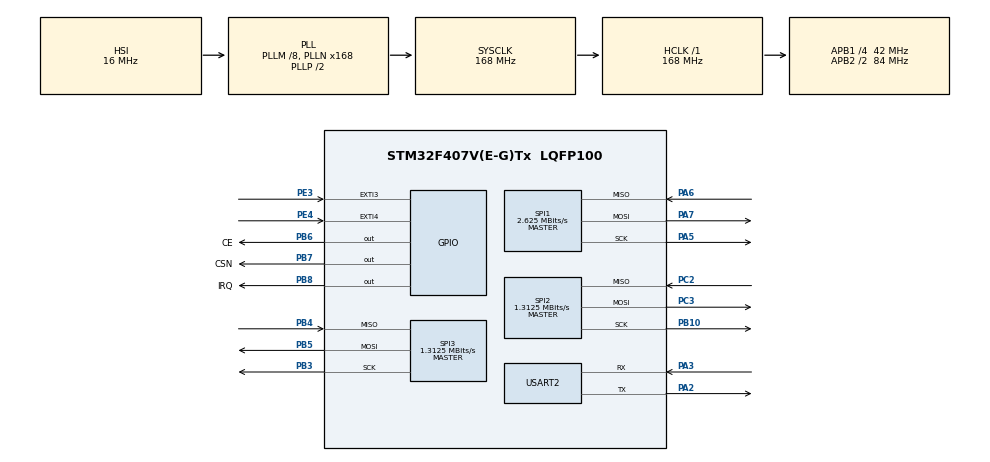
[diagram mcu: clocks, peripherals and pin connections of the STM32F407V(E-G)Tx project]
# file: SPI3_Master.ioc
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Mcu.Family=STM32F4
Mcu.Name=STM32F407V(E-G)Tx
Mcu.Package=LQFP100
NVIC.EXTI3_IRQn=true\:1\:0\:true\:false\:true\:true\:true
NVIC.EXTI4_IRQn=true\:2\:0\:true\:false\:true\:true\:true
NVIC.PriorityGroup=NVIC_PRIORITYGROUP_4
NVIC.USART2_IRQn=true\:0\:0\:false\:false\:true\:true\:true
PA13.Mode=Serial_Wire
PA13.Signal=SYS_JTMS-SWDIO
PA14.Mode=Serial_Wire
PA14.Signal=SYS_JTCK-SWCLK
PA2.GPIO_Speed=GPIO_SPEED_FREQ_VERY_HIGH
PA2.Mode=Asynchronous
PA2.Signal=USART2_TX
PA3.GPIO_Speed=GPIO_SPEED_FREQ_VERY_HIGH
PA3.Mode=Asynchronous
PA3.Signal=USART2_RX
PA5.Mode=Full_Duplex_Master
PA5.Signal=SPI1_SCK
PA6.Mode=Full_Duplex_Master
PA6.Signal=SPI1_MISO
PA7.Mode=Full_Duplex_Master
PA7.Signal=SPI1_MOSI
PB10.Mode=Full_Duplex_Master
PB10.Signal=SPI2_SCK
PB3.GPIO_Speed=GPIO_SPEED_FREQ_VERY_HIGH
PB3.Mode=Full_Duplex_Master
PB3.Signal=SPI3_SCK
PB4.GPIO_Speed=GPIO_SPEED_FREQ_VERY_HIGH
PB4.Mode=Full_Duplex_Master
PB4.Signal=SPI3_MISO
PB5.GPIO_Speed=GPIO_SPEED_FREQ_VERY_HIGH
PB5.Mode=Full_Duplex_Master
PB5.Signal=SPI3_MOSI
PB6.GPIO_Label=CE
PB6.GPIO_PuPd=GPIO_NOPULL
PB6.GPIO_Speed=GPIO_SPEED_FREQ_VERY_HIGH
PB6.PinState=GPIO_PIN_SET
PB6.Signal=GPIO_Output
PB7.GPIO_Label=CSN
PB7.GPIO_Speed=GPIO_SPEED_FREQ_VERY_HIGH
PB7.PinState=GPIO_PIN_SET
PB7.Signal=GPIO_Output
PB8.GPIO_Label=IRQ
PB8.GPIO_Speed=GPIO_SPEED_FREQ_VERY_HIGH
PB8.PinState=GPIO_PIN_RESET
PB8.Signal=GPIO_Output
PC2.Mode=Full_Duplex_Master
PC2.Signal=SPI2_MISO
PC3.Mode=Full_Duplex_Master
PC3.Signal=SPI2_MOSI
PE3.GPIO_ModeDefaultEXTI=GPIO_MODE_IT_FALLING
PE3.GPIO_PuPd=GPIO_PULLUP
PE3.Signal=GPXTI3
PE4.GPIO_ModeDefaultEXTI=GPIO_MODE_IT_FALLING
PE4.GPIO_PuPd=GPIO_PULLUP
PE4.Signal=GPXTI4
PH0-OSC_IN.Mode=HSE-External-Oscillator
PH0-OSC_IN.Signal=RCC_OSC_IN
PH1-OSC_OUT.Mode=HSE-External-Oscillator
PH1-OSC_OUT.Signal=RCC_OSC_OUT
ProjectManager.HeapSize=0x200
ProjectManager.StackSize=0x400
ProjectManager.TargetToolchain=MDK-ARM V5.27
RCC.48MHZClocksFreq_Value=84000000
RCC.AHBFreq_Value=168000000
RCC.APB1CLKDivider=RCC_HCLK_DIV4
RCC.APB1Freq_Value=42000000
RCC.APB1TimFreq_Value=84000000
RCC.APB2CLKDivider=RCC_HCLK_DIV2
RCC.APB2Freq_Value=84000000
RCC.APB2TimFreq_Value=168000000
RCC.CortexFreq_Value=168000000
RCC.HCLKFreq_Value=168000000
RCC.HSE_VALUE=8000000
RCC.HSI_VALUE=16000000
RCC.LSE_VALUE=32768
RCC.PLLM=8
RCC.PLLN=168
RCC.SYSCLKFreq_VALUE=168000000
RCC.SYSCLKSource=RCC_SYSCLKSOURCE_PLLCLK
RCC.VCOOutputFreq_Value=336000000
SPI1.BaudRatePrescaler=SPI_BAUDRATEPRESCALER_32
SPI1.CalculateBaudRate=2.625 MBits/s
SPI1.Direction=SPI_DIRECTION_2LINES
SPI1.Mode=SPI_MODE_MASTER
SPI1.VirtualType=VM_MASTER
SPI2.BaudRatePrescaler=SPI_BAUDRATEPRESCALER_32
SPI2.CalculateBaudRate=1.3125 MBits/s
SPI2.Direction=SPI_DIRECTION_2LINES
SPI2.Mode=SPI_MODE_MASTER
SPI2.VirtualType=VM_MASTER
SPI3.BaudRatePrescaler=SPI_BAUDRATEPRESCALER_32
SPI3.CRCCalculation=SPI_CRCCALCULATION_DISABLE
SPI3.CalculateBaudRate=1.3125 MBits/s
SPI3.Direction=SPI_DIRECTION_2LINES
SPI3.Mode=SPI_MODE_MASTER
SPI3.VirtualType=VM_MASTER
USART2.VirtualMode=VM_ASYNC
board=custom

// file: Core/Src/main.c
/* USER CODE BEGIN Header */
/**
  ******************************************************************************
  * @file           : main.c
  * @brief          : Main program body
  ******************************************************************************
  * @attention
  *
  * <h2><center>&copy; Copyright (c) 2021 STMicroelectronics.
  * All rights reserved.</center></h2>
  *
  * This software component is licensed by ST under BSD 3-Clause license,
  * the "License"; You may not use this file except in compliance with the
  * License. You may obtain a copy of the License at:
  *                        opensource.org/licenses/BSD-3-Clause
  *
  ******************************************************************************
  */
/* USER CODE END Header */
#include "main.h"

/* USER CODE BEGIN Includes */
#include "MY_NRF24.h"
/* USER CODE END Includes */

SPI_HandleTypeDef hspi1;
SPI_HandleTypeDef hspi2;
SPI_HandleTypeDef hspi3;

UART_HandleTypeDef huart2;

void SystemClock_Config(void);
static void MX_GPIO_Init(void);
static void MX_SPI3_Init(void);
static void MX_USART2_UART_Init(void);
static void MX_SPI1_Init(void);
static void MX_SPI2_Init(void);

/* USER CODE BEGIN 0 */
uint8_t ch;
volatile uint8_t status = 0;
uint64_t TxpipeAddres = 0x11223344AA;
char DataSent[32] = "Hello nFR";
char MyAckPayload[32];
/* USER CODE END 0 */

int main(void)
{

  /* MCU Configuration--------------------------------------------------------*/

  /* Reset of all peripherals, Initializes the Flash interface and the Systick. */
  HAL_Init();

  /* Configure the system clock */
  SystemClock_Config();

  /* Initialize all configured peripherals */
  MX_GPIO_Init();
  MX_SPI3_Init();
  MX_USART2_UART_Init();
  MX_SPI1_Init();
  MX_SPI2_Init();
  /* USER CODE BEGIN 2 */
	HAL_SPI_Init(&hspi3);
//HAL_UART_Transmit(&huart2,(uint8_t *)"SPI3 \r\n",13,1000);

NRF24_begin(GPIOB, CSN_Pin, CE_Pin, hspi3);
nrf24_DebugUART_Init(huart2);

printRadioSettings();

/* Transmit - No ACK */
NRF24_stopListening();
NRF24_setDataRate(RF24_2MBPS);
NRF24_setAutoAck(true);
NRF24_setChannel(52);
NRF24_openWritingPipe(TxpipeAddres);
NRF24_setPayloadSize(32);

//NRF24_enableDynamicPayloads();
//NRF24_enableAckPayload();
  /* USER CODE END 2 */

  /* Infinite loop */
  /* USER CODE BEGIN WHILE */
  while (1)
  {
//		//NRF24_write(DataSent, 32);
//		if(NRF24_write(DataSent, 32))
//		{
//			//NRF24_read(MyAckPayload, 32);
//			HAL_UART_Transmit(&huart2, (uint8_t*) "Transmited data\r\n", strlen("Transmited data\r\n"),10);
//
//			//HAL_UART_Transmit(&huart2, (uint8_t*) MyAckPayload, strlen(MyAckPayload), 10);
//		}
//		switch(status)
//		{
//			case 0:
//				NRF24_write("0 Hello \r\n", 32);
//				break;
//			case 1:
//				NRF24_write("1 Hello \r\n", 32);
//				break;
//		}
		if(status == 1)
		{
			NRF24_write("1 \r\n", 32);
		}
		else if(status == 0)
		{
			NRF24_write("0 \r\n", 32);
		}
		HAL_Delay(100);

    /* USER CODE END WHILE */

  }
}
void HAL_GPIO_EXTI_Callback(uint16_t GPIO_Pin)
{
	if(GPIO_Pin == GPIO_PIN_3)
	{
		status = 1;
	}
	if(GPIO_Pin == GPIO_PIN_4)
	{
		status = 0;
	}
}
void SystemClock_Config(void)
{
  RCC_OscInitTypeDef RCC_OscInitStruct = {0};
  RCC_ClkInitTypeDef RCC_ClkInitStruct = {0};

  /** Configure the main internal regulator output voltage
  */
  __HAL_RCC_PWR_CLK_ENABLE();
  __HAL_PWR_VOLTAGESCALING_CONFIG(PWR_REGULATOR_VOLTAGE_SCALE1);
  /** Initializes the RCC Oscillators according to the specified parameters
  * in the RCC_OscInitTypeDef structure.
  */
  RCC_OscInitStruct.OscillatorType = RCC_OSCILLATORTYPE_HSI;
  RCC_OscInitStruct.HSIState = RCC_HSI_ON;
  RCC_OscInitStruct.HSICalibrationValue = RCC_HSICALIBRATION_DEFAULT;
  RCC_OscInitStruct.PLL.PLLState = RCC_PLL_ON;
  RCC_OscInitStruct.PLL.PLLSource = RCC_PLLSOURCE_HSI;
  RCC_OscInitStruct.PLL.PLLM = 8;
  RCC_OscInitStruct.PLL.PLLN = 168;
  RCC_OscInitStruct.PLL.PLLP = RCC_PLLP_DIV2;
  RCC_OscInitStruct.PLL.PLLQ = 4;
  if (HAL_RCC_OscConfig(&RCC_OscInitStruct) != HAL_OK)
  {
    Error_Handler();
  }
  /** Initializes the CPU, AHB and APB buses clocks
  */
  RCC_ClkInitStruct.ClockType = RCC_CLOCKTYPE_HCLK|RCC_CLOCKTYPE_SYSCLK
                              |RCC_CLOCKTYPE_PCLK1|RCC_CLOCKTYPE_PCLK2;
  RCC_ClkInitStruct.SYSCLKSource = RCC_SYSCLKSOURCE_PLLCLK;
  RCC_ClkInitStruct.AHBCLKDivider = RCC_SYSCLK_DIV1;
  RCC_ClkInitStruct.APB1CLKDivider = RCC_HCLK_DIV4;
  RCC_ClkInitStruct.APB2CLKDivider = RCC_HCLK_DIV2;

  if (HAL_RCC_ClockConfig(&RCC_ClkInitStruct, FLASH_LATENCY_5) != HAL_OK)
  {
    Error_Handler();
  }
}

static void MX_SPI1_Init(void)
{

  /* SPI1 parameter configuration*/
  hspi1.Instance = SPI1;
  hspi1.Init.Mode = SPI_MODE_MASTER;
  hspi1.Init.Direction = SPI_DIRECTION_2LINES;
  hspi1.Init.DataSize = SPI_DATASIZE_8BIT;
  hspi1.Init.CLKPolarity = SPI_POLARITY_LOW;
  hspi1.Init.CLKPhase = SPI_PHASE_1EDGE;
  hspi1.Init.NSS = SPI_NSS_SOFT;
  hspi1.Init.BaudRatePrescaler = SPI_BAUDRATEPRESCALER_32;
  hspi1.Init.FirstBit = SPI_FIRSTBIT_MSB;
  hspi1.Init.TIMode = SPI_TIMODE_DISABLE;
  hspi1.Init.CRCCalculation = SPI_CRCCALCULATION_DISABLE;
  hspi1.Init.CRCPolynomial = 10;
  if (HAL_SPI_Init(&hspi1) != HAL_OK)
  {
    Error_Handler();
  }

}

static void MX_SPI2_Init(void)
{

  /* SPI2 parameter configuration*/
  hspi2.Instance = SPI2;
  hspi2.Init.Mode = SPI_MODE_MASTER;
  hspi2.Init.Direction = SPI_DIRECTION_2LINES;
  hspi2.Init.DataSize = SPI_DATASIZE_8BIT;
  hspi2.Init.CLKPolarity = SPI_POLARITY_LOW;
  hspi2.Init.CLKPhase = SPI_PHASE_1EDGE;
  hspi2.Init.NSS = SPI_NSS_SOFT;
  hspi2.Init.BaudRatePrescaler = SPI_BAUDRATEPRESCALER_32;
  hspi2.Init.FirstBit = SPI_FIRSTBIT_MSB;
  hspi2.Init.TIMode = SPI_TIMODE_DISABLE;
  hspi2.Init.CRCCalculation = SPI_CRCCALCULATION_DISABLE;
  hspi2.Init.CRCPolynomial = 10;
  if (HAL_SPI_Init(&hspi2) != HAL_OK)
  {
    Error_Handler();
  }

}

static void MX_SPI3_Init(void)
{

  /* SPI3 parameter configuration*/
  hspi3.Instance = SPI3;
  hspi3.Init.Mode = SPI_MODE_MASTER;
  hspi3.Init.Direction = SPI_DIRECTION_2LINES;
  hspi3.Init.DataSize = SPI_DATASIZE_8BIT;
  hspi3.Init.CLKPolarity = SPI_POLARITY_LOW;
  hspi3.Init.CLKPhase = SPI_PHASE_1EDGE;
  hspi3.Init.NSS = SPI_NSS_SOFT;
  hspi3.Init.BaudRatePrescaler = SPI_BAUDRATEPRESCALER_32;
  hspi3.Init.FirstBit = SPI_FIRSTBIT_MSB;
  hspi3.Init.TIMode = SPI_TIMODE_DISABLE;
  hspi3.Init.CRCCalculation = SPI_CRCCALCULATION_DISABLE;
  hspi3.Init.CRCPolynomial = 10;
  if (HAL_SPI_Init(&hspi3) != HAL_OK)
  {
    Error_Handler();
  }

}

static void MX_USART2_UART_Init(void)
{

  huart2.Instance = USART2;
  huart2.Init.BaudRate = 115200;
  huart2.Init.WordLength = UART_WORDLENGTH_8B;
  huart2.Init.StopBits = UART_STOPBITS_1;
  huart2.Init.Parity = UART_PARITY_NONE;
  huart2.Init.Mode = UART_MODE_TX_RX;
  huart2.Init.HwFlowCtl = UART_HWCONTROL_NONE;
  huart2.Init.OverSampling = UART_OVERSAMPLING_16;
  if (HAL_UART_Init(&huart2) != HAL_OK)
  {
    Error_Handler();
  }

}

static void MX_GPIO_Init(void)
{
  GPIO_InitTypeDef GPIO_InitStruct = {0};

  /* GPIO Ports Clock Enable */
  __HAL_RCC_GPIOE_CLK_ENABLE();
  __HAL_RCC_GPIOH_CLK_ENABLE();
  __HAL_RCC_GPIOC_CLK_ENABLE();
  __HAL_RCC_GPIOA_CLK_ENABLE();
  __HAL_RCC_GPIOB_CLK_ENABLE();

  /*Configure GPIO pin Output Level */
  HAL_GPIO_WritePin(GPIOB, CE_Pin|CSN_Pin, GPIO_PIN_SET);

  /*Configure GPIO pin Output Level */
  HAL_GPIO_WritePin(IRQ_GPIO_Port, IRQ_Pin, GPIO_PIN_RESET);

  /*Configure GPIO pins : PE3 PE4 */
  GPIO_InitStruct.Pin = GPIO_PIN_3|GPIO_PIN_4;
  GPIO_InitStruct.Mode = GPIO_MODE_IT_FALLING;
  GPIO_InitStruct.Pull = GPIO_PULLUP;
  HAL_GPIO_Init(GPIOE, &GPIO_InitStruct);

  /*Configure GPIO pins : CE_Pin CSN_Pin IRQ_Pin */
  GPIO_InitStruct.Pin = CE_Pin|CSN_Pin|IRQ_Pin;
  GPIO_InitStruct.Mode = GPIO_MODE_OUTPUT_PP;
  GPIO_InitStruct.Pull = GPIO_NOPULL;
  GPIO_InitStruct.Speed = GPIO_SPEED_FREQ_VERY_HIGH;
  HAL_GPIO_Init(GPIOB, &GPIO_InitStruct);

  /* EXTI interrupt init*/
  HAL_NVIC_SetPriority(EXTI3_IRQn, 1, 0);
  HAL_NVIC_EnableIRQ(EXTI3_IRQn);

  HAL_NVIC_SetPriority(EXTI4_IRQn, 2, 0);
  HAL_NVIC_EnableIRQ(EXTI4_IRQn);

}

void Error_Handler(void)
{
  __disable_irq();
  while (1)
  {
  }
}

/************************ (C) COPYRIGHT STMicroelectronics *****END OF FILE****/
